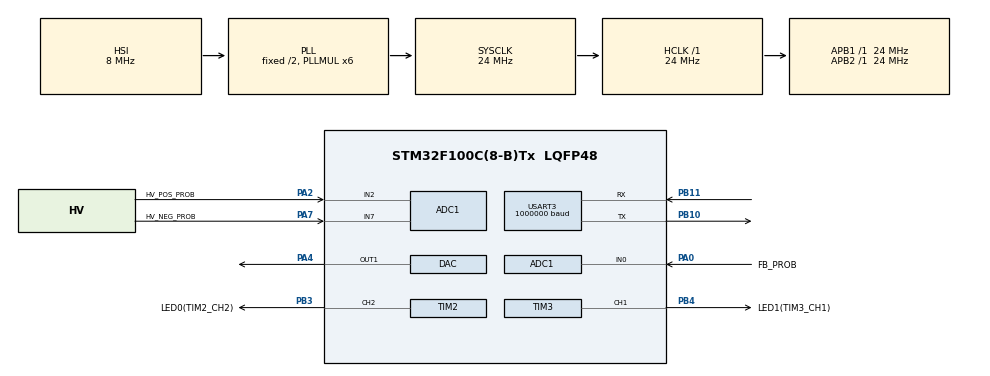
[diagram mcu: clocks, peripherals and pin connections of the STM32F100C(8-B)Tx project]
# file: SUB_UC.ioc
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ADC1.Channel-4\#ChannelRegularConversion=ADC_CHANNEL_0
ADC1.Channel-5\#ChannelRegularConversion=ADC_CHANNEL_0
ADC1.Channel-6\#ChannelRegularConversion=ADC_CHANNEL_0
ADC1.Channel-7\#ChannelRegularConversion=ADC_CHANNEL_2
ADC1.Channel-8\#ChannelRegularConversion=ADC_CHANNEL_7
ADC1.InjNumberOfConversion=0
ADC1.NbrOfConversion=5
ADC1.NbrOfConversionFlag=1
ADC1.Rank-4\#ChannelRegularConversion=1
ADC1.Rank-5\#ChannelRegularConversion=2
ADC1.Rank-6\#ChannelRegularConversion=3
ADC1.Rank-7\#ChannelRegularConversion=4
ADC1.Rank-8\#ChannelRegularConversion=5
ADC1.SamplingTime-4\#ChannelRegularConversion=ADC_SAMPLETIME_28CYCLES_5
ADC1.SamplingTime-5\#ChannelRegularConversion=ADC_SAMPLETIME_28CYCLES_5
ADC1.SamplingTime-6\#ChannelRegularConversion=ADC_SAMPLETIME_28CYCLES_5
ADC1.SamplingTime-7\#ChannelRegularConversion=ADC_SAMPLETIME_55CYCLES_5
ADC1.SamplingTime-8\#ChannelRegularConversion=ADC_SAMPLETIME_55CYCLES_5
ADC1.master=1
Dma.ADC1.0.Direction=DMA_PERIPH_TO_MEMORY
Dma.ADC1.0.Instance=DMA1_Channel1
Dma.ADC1.0.MemDataAlignment=DMA_MDATAALIGN_HALFWORD
Dma.ADC1.0.MemInc=DMA_MINC_ENABLE
Dma.ADC1.0.Mode=DMA_CIRCULAR
Dma.ADC1.0.PeriphDataAlignment=DMA_PDATAALIGN_HALFWORD
Dma.ADC1.0.PeriphInc=DMA_PINC_DISABLE
Dma.ADC1.0.Priority=DMA_PRIORITY_LOW
Dma.Request0=ADC1
Dma.Request1=USART3_TX
Dma.Request2=USART3_RX
Dma.USART3_RX.2.Direction=DMA_PERIPH_TO_MEMORY
Dma.USART3_RX.2.Instance=DMA1_Channel3
Dma.USART3_RX.2.MemDataAlignment=DMA_MDATAALIGN_BYTE
Dma.USART3_RX.2.MemInc=DMA_MINC_ENABLE
Dma.USART3_RX.2.Mode=DMA_CIRCULAR
Dma.USART3_RX.2.PeriphDataAlignment=DMA_PDATAALIGN_BYTE
Dma.USART3_RX.2.PeriphInc=DMA_PINC_DISABLE
Dma.USART3_RX.2.Priority=DMA_PRIORITY_LOW
Dma.USART3_TX.1.Direction=DMA_MEMORY_TO_PERIPH
Dma.USART3_TX.1.Instance=DMA1_Channel2
Dma.USART3_TX.1.MemDataAlignment=DMA_MDATAALIGN_BYTE
Dma.USART3_TX.1.MemInc=DMA_MINC_ENABLE
Dma.USART3_TX.1.Mode=DMA_NORMAL
Dma.USART3_TX.1.PeriphDataAlignment=DMA_PDATAALIGN_BYTE
Dma.USART3_TX.1.PeriphInc=DMA_PINC_DISABLE
Dma.USART3_TX.1.Priority=DMA_PRIORITY_LOW
Mcu.Family=STM32F1
Mcu.Name=STM32F100C(8-B)Tx
Mcu.Package=LQFP48
NVIC.DMA1_Channel1_IRQn=true\:0\:0\:false\:false\:true
NVIC.DMA1_Channel2_IRQn=true\:0\:0\:false\:false\:true
NVIC.DMA1_Channel3_IRQn=true\:0\:0\:false\:false\:true
NVIC.PriorityGroup=NVIC_PRIORITYGROUP_4
NVIC.TIM6_DAC_IRQn=true\:0\:0\:false\:false\:true
NVIC.TIM7_IRQn=true\:0\:0\:false\:false\:true
NVIC.USART3_IRQn=true\:0\:0\:false\:false\:true
PA0-WKUP.GPIO_Label=FB_PROB
PA0-WKUP.Signal=ADCx_IN0
PA13.Mode=Serial_Wire
PA13.Signal=SYS_JTMS-SWDIO
PA14.Mode=Serial_Wire
PA14.Signal=SYS_JTCK-SWCLK
PA2.GPIO_Label=HV_POS_PROB
PA2.Signal=ADCx_IN2
PA4.Signal=COMP_DAC1_group
PA7.GPIO_Label=HV_NEG_PROB
PA7.Signal=ADCx_IN7
PB10.Mode=Asynchronous
PB10.Signal=USART3_TX
PB11.Mode=Asynchronous
PB11.Signal=USART3_RX
PB3.GPIO_Label=LED0(TIM2_CH2)
PB3.Signal=S_TIM2_CH2
PB4.GPIO_Label=LED1(TIM3_CH1)
PB4.Signal=S_TIM3_CH1
PD0-OSC_IN.Mode=HSE-External-Oscillator
PD0-OSC_IN.Signal=RCC_OSC_IN
PD1-OSC_OUT.Mode=HSE-External-Oscillator
PD1-OSC_OUT.Signal=RCC_OSC_OUT
ProjectManager.HeapSize=0x200
ProjectManager.StackSize=0x400
ProjectManager.TargetToolchain=MDK-ARM V5
RCC.AHBFreq_Value=24000000
RCC.APB1Freq_Value=24000000
RCC.APB1TimFreq_Value=24000000
RCC.APB2Freq_Value=24000000
RCC.APB2TimFreq_Value=24000000
RCC.HCLKFreq_Value=24000000
RCC.PLLMUL=RCC_PLL_MUL6
RCC.SYSCLKFreq_VALUE=24000000
RCC.SYSCLKSource=RCC_SYSCLKSOURCE_PLLCLK
SH.ADCx_IN0.0=ADC1_IN0,IN0
SH.ADCx_IN2.0=ADC1_IN2,IN2
SH.ADCx_IN7.0=ADC1_IN7,IN7
SH.COMP_DAC1_group.0=DAC_OUT1,DAC_OUT1
SH.S_TIM2_CH2.0=TIM2_CH2,PWM Generation2 CH2
SH.S_TIM3_CH1.0=TIM3_CH1,PWM Generation1 CH1
TIM2.Channel-PWM\ Generation2\ CH2=TIM_CHANNEL_2
TIM2.OCFastMode_PWM-PWM\ Generation2\ CH2=TIM_OCFAST_ENABLE
TIM2.Period=500
TIM2.Prescaler=24000
TIM2.Pulse-PWM\ Generation2\ CH2=50
TIM3.OCFastMode_PWM-PWM\ Generation1\ CH1=TIM_OCFAST_ENABLE
TIM3.Period=600
TIM3.Prescaler=24000
TIM3.Pulse-PWM\ Generation1\ CH1=50
TIM6.Period=100
TIM6.Prescaler=23
TIM7.Period=10
TIM7.Prescaler=239
USART3.BaudRate=1000000
VP_TIM6_VS_ClockSourceINT.Mode=Enable_Timer
VP_TIM7_VS_ClockSourceINT.Mode=Enable_Timer
board=SUB_UC

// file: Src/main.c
/**
  ******************************************************************************
  * File Name          : main.c
  * Description        : Main program body
  ******************************************************************************
  *
  * COPYRIGHT(c) 2017 STMicroelectronics
  *
  * Redistribution and use in source and binary forms, with or without modification,
  * are permitted provided that the following conditions are met:
  *   1. Redistributions of source code must retain the above copyright notice,
  *      this list of conditions and the following disclaimer.
  *   2. Redistributions in binary form must reproduce the above copyright notice,
  *      this list of conditions and the following disclaimer in the documentation
  *      and/or other materials provided with the distribution.
  *   3. Neither the name of STMicroelectronics nor the names of its contributors
  *      may be used to endorse or promote products derived from this software
  *      without specific prior written permission.
  *
  * THIS SOFTWARE IS PROVIDED BY THE COPYRIGHT HOLDERS AND CONTRIBUTORS "AS IS"
  * AND ANY EXPRESS OR IMPLIED WARRANTIES, INCLUDING, BUT NOT LIMITED TO, THE
  * IMPLIED WARRANTIES OF MERCHANTABILITY AND FITNESS FOR A PARTICULAR PURPOSE ARE
  * DISCLAIMED. IN NO EVENT SHALL THE COPYRIGHT HOLDER OR CONTRIBUTORS BE LIABLE
  * FOR ANY DIRECT, INDIRECT, INCIDENTAL, SPECIAL, EXEMPLARY, OR CONSEQUENTIAL
  * DAMAGES (INCLUDING, BUT NOT LIMITED TO, PROCUREMENT OF SUBSTITUTE GOODS OR
  * SERVICES; LOSS OF USE, DATA, OR PROFITS; OR BUSINESS INTERRUPTION) HOWEVER
  * CAUSED AND ON ANY THEORY OF LIABILITY, WHETHER IN CONTRACT, STRICT LIABILITY,
  * OR TORT (INCLUDING NEGLIGENCE OR OTHERWISE) ARISING IN ANY WAY OUT OF THE USE
  * OF THIS SOFTWARE, EVEN IF ADVISED OF THE POSSIBILITY OF SUCH DAMAGE.
  *
  ******************************************************************************
  */
#include "main.h"
#include "stm32f1xx_hal.h"

/* USER CODE BEGIN Includes */
#include "MISC_function.h"
#include "Channel_function.h"
#include "USART_function.h"
/* USER CODE END Includes */

ADC_HandleTypeDef hadc1;
DMA_HandleTypeDef hdma_adc1;

DAC_HandleTypeDef hdac;

TIM_HandleTypeDef htim2;
TIM_HandleTypeDef htim3;
TIM_HandleTypeDef htim6;
TIM_HandleTypeDef htim7;

UART_HandleTypeDef huart3;
DMA_HandleTypeDef hdma_usart3_tx;
DMA_HandleTypeDef hdma_usart3_rx;

/* USER CODE BEGIN PV */
/* Private variables ---------------------------------------------------------*/
volatile 	uint32_t		MainStatus 			= 0x00000000;

uint16_t 				ADC_Values[5]					= {0x0000,0x0000,0x0000,0x0000,0x0000};
volatile float 	HV_PosRailVoltage 		= 0.0;
volatile float 	HV_NegRailVoltage 		= 0.0;

const float         FilterConst						= 0.1;
const float			HV_PosRailVoltageGain = 0.0705; //En théorie devrait valoir 100*3.3/4096 = 0.08057 (avec 100 le rapport du diviseur de tension)
const float			HV_NegRailVoltageGain = 0.0705; //En théorie devrait valoir 100*3.3/4096 = 0.08057 (avec 100 le rapport du diviseur de tension)

uint32_t 				DebugVar0							= 0;
uint32_t 				DebugVar1							= 0;

/* USER CODE END PV */

void SystemClock_Config(void);
void Error_Handler(void);
static void MX_GPIO_Init(void);
static void MX_DMA_Init(void);
static void MX_ADC1_Init(void);
static void MX_DAC_Init(void);
static void MX_USART3_UART_Init(void);
static void MX_TIM7_Init(void);
static void MX_TIM6_Init(void);
static void MX_TIM2_Init(void);
static void MX_TIM3_Init(void);

void HAL_TIM_MspPostInit(TIM_HandleTypeDef *htim);

/* USER CODE BEGIN PFP */
/* Private function prototypes -----------------------------------------------*/
void HAL_TIM_PeriodElapsedCallback(TIM_HandleTypeDef *htim);
void MiscInit(void);
void CyclicSupervisionTask(void);
void LedConfig(uint32_t Periode, uint32_t Pulse, uint32_t Color);
/* USER CODE END PFP */

int main(void)
{

  /* MCU Configuration----------------------------------------------------------*/

  /* Reset of all peripherals, Initializes the Flash interface and the Systick. */
  HAL_Init();

  /* Configure the system clock */
  SystemClock_Config();

  /* Initialize all configured peripherals */
  MX_GPIO_Init();
  MX_DMA_Init();
  MX_ADC1_Init();
  MX_DAC_Init();
  MX_USART3_UART_Init();
  MX_TIM7_Init();
  MX_TIM6_Init();
  MX_TIM2_Init();
  MX_TIM3_Init();

  /* USER CODE BEGIN 2 */
	MiscInit();
	//LED1_GPIO_Port->ODR	^= LED1_Pin;
  /* USER CODE END 2 */

  /* Infinite loop */
  while (1)
  {

  /* USER CODE BEGIN 3 */
		USART_rx_handler();
		if(MainStatus & RUN_CYCLIC_SUPERVISION_TASK){
				MainStatus &=~RUN_CYCLIC_SUPERVISION_TASK;
				CyclicSupervisionTask();
		}
		Delay_ms_dummy(100);
//		LED0_GPIO_Port->ODR	^= LED0_Pin;
//		Delay_ms_dummy(100);
//		LED1_GPIO_Port->ODR	^= LED1_Pin;
  }
  /* USER CODE END 3 */

}

/** System Clock Configuration
*/
void SystemClock_Config(void)
{

  RCC_OscInitTypeDef RCC_OscInitStruct;
  RCC_ClkInitTypeDef RCC_ClkInitStruct;
  RCC_PeriphCLKInitTypeDef PeriphClkInit;

    /**Initializes the CPU, AHB and APB busses clocks
    */
  RCC_OscInitStruct.OscillatorType = RCC_OSCILLATORTYPE_HSI;
  RCC_OscInitStruct.HSIState = RCC_HSI_ON;
  RCC_OscInitStruct.HSICalibrationValue = 16;
  RCC_OscInitStruct.PLL.PLLState = RCC_PLL_ON;
  RCC_OscInitStruct.PLL.PLLSource = RCC_PLLSOURCE_HSI_DIV2;
  RCC_OscInitStruct.PLL.PLLMUL = RCC_PLL_MUL6;
  if (HAL_RCC_OscConfig(&RCC_OscInitStruct) != HAL_OK)
  {
    Error_Handler();
  }

    /**Initializes the CPU, AHB and APB busses clocks
    */
  RCC_ClkInitStruct.ClockType = RCC_CLOCKTYPE_HCLK|RCC_CLOCKTYPE_SYSCLK
                              |RCC_CLOCKTYPE_PCLK1|RCC_CLOCKTYPE_PCLK2;
  RCC_ClkInitStruct.SYSCLKSource = RCC_SYSCLKSOURCE_PLLCLK;
  RCC_ClkInitStruct.AHBCLKDivider = RCC_SYSCLK_DIV1;
  RCC_ClkInitStruct.APB1CLKDivider = RCC_HCLK_DIV1;
  RCC_ClkInitStruct.APB2CLKDivider = RCC_HCLK_DIV1;

  if (HAL_RCC_ClockConfig(&RCC_ClkInitStruct, FLASH_LATENCY_0) != HAL_OK)
  {
    Error_Handler();
  }

  PeriphClkInit.PeriphClockSelection = RCC_PERIPHCLK_ADC;
  PeriphClkInit.AdcClockSelection = RCC_ADCPCLK2_DIV2;
  if (HAL_RCCEx_PeriphCLKConfig(&PeriphClkInit) != HAL_OK)
  {
    Error_Handler();
  }

    /**Configure the Systick interrupt time
    */
  HAL_SYSTICK_Config(HAL_RCC_GetHCLKFreq()/1000);

    /**Configure the Systick
    */
  HAL_SYSTICK_CLKSourceConfig(SYSTICK_CLKSOURCE_HCLK);

  /* SysTick_IRQn interrupt configuration */
  HAL_NVIC_SetPriority(SysTick_IRQn, 0, 0);
}

/* ADC1 init function */
static void MX_ADC1_Init(void)
{

  ADC_ChannelConfTypeDef sConfig;

    /**Common config
    */
  hadc1.Instance = ADC1;
  hadc1.Init.ScanConvMode = ADC_SCAN_ENABLE;
  hadc1.Init.ContinuousConvMode = DISABLE;
  hadc1.Init.DiscontinuousConvMode = DISABLE;
  hadc1.Init.ExternalTrigConv = ADC_SOFTWARE_START;
  hadc1.Init.DataAlign = ADC_DATAALIGN_RIGHT;
  hadc1.Init.NbrOfConversion = 5;
  if (HAL_ADC_Init(&hadc1) != HAL_OK)
  {
    Error_Handler();
  }

    /**Configure Regular Channel
    */
  sConfig.Channel = ADC_CHANNEL_0;
  sConfig.Rank = 1;
  sConfig.SamplingTime = ADC_SAMPLETIME_28CYCLES_5;
  if (HAL_ADC_ConfigChannel(&hadc1, &sConfig) != HAL_OK)
  {
    Error_Handler();
  }

    /**Configure Regular Channel
    */
  sConfig.Rank = 2;
  if (HAL_ADC_ConfigChannel(&hadc1, &sConfig) != HAL_OK)
  {
    Error_Handler();
  }

    /**Configure Regular Channel
    */
  sConfig.Rank = 3;
  if (HAL_ADC_ConfigChannel(&hadc1, &sConfig) != HAL_OK)
  {
    Error_Handler();
  }

    /**Configure Regular Channel
    */
  sConfig.Channel = ADC_CHANNEL_2;
  sConfig.Rank = 4;
  sConfig.SamplingTime = ADC_SAMPLETIME_55CYCLES_5;
  if (HAL_ADC_ConfigChannel(&hadc1, &sConfig) != HAL_OK)
  {
    Error_Handler();
  }

    /**Configure Regular Channel
    */
  sConfig.Channel = ADC_CHANNEL_7;
  sConfig.Rank = 5;
  if (HAL_ADC_ConfigChannel(&hadc1, &sConfig) != HAL_OK)
  {
    Error_Handler();
  }

}

/* DAC init function */
static void MX_DAC_Init(void)
{

  DAC_ChannelConfTypeDef sConfig;

    /**DAC Initialization
    */
  hdac.Instance = DAC;
  if (HAL_DAC_Init(&hdac) != HAL_OK)
  {
    Error_Handler();
  }

    /**DAC channel OUT1 config
    */
  sConfig.DAC_Trigger = DAC_TRIGGER_NONE;
  sConfig.DAC_OutputBuffer = DAC_OUTPUTBUFFER_ENABLE;
  if (HAL_DAC_ConfigChannel(&hdac, &sConfig, DAC_CHANNEL_1) != HAL_OK)
  {
    Error_Handler();
  }

}

/* TIM2 init function */
static void MX_TIM2_Init(void)
{

  TIM_MasterConfigTypeDef sMasterConfig;
  TIM_OC_InitTypeDef sConfigOC;

  htim2.Instance = TIM2;
  htim2.Init.Prescaler = 24000;
  htim2.Init.CounterMode = TIM_COUNTERMODE_UP;
  htim2.Init.Period = 500;
  htim2.Init.ClockDivision = TIM_CLOCKDIVISION_DIV1;
  if (HAL_TIM_PWM_Init(&htim2) != HAL_OK)
  {
    Error_Handler();
  }

  sMasterConfig.MasterOutputTrigger = TIM_TRGO_RESET;
  sMasterConfig.MasterSlaveMode = TIM_MASTERSLAVEMODE_DISABLE;
  if (HAL_TIMEx_MasterConfigSynchronization(&htim2, &sMasterConfig) != HAL_OK)
  {
    Error_Handler();
  }

  sConfigOC.OCMode = TIM_OCMODE_PWM1;
  sConfigOC.Pulse = 0;
  sConfigOC.OCPolarity = TIM_OCPOLARITY_HIGH;
  sConfigOC.OCFastMode = TIM_OCFAST_ENABLE;
  if (HAL_TIM_PWM_ConfigChannel(&htim2, &sConfigOC, TIM_CHANNEL_2) != HAL_OK)
  {
    Error_Handler();
  }

  HAL_TIM_MspPostInit(&htim2);

}

/* TIM3 init function */
static void MX_TIM3_Init(void)
{

  TIM_MasterConfigTypeDef sMasterConfig;
  TIM_OC_InitTypeDef sConfigOC;

  htim3.Instance = TIM3;
  htim3.Init.Prescaler = 24000;
  htim3.Init.CounterMode = TIM_COUNTERMODE_UP;
  htim3.Init.Period = 500;
  htim3.Init.ClockDivision = TIM_CLOCKDIVISION_DIV1;
  if (HAL_TIM_PWM_Init(&htim3) != HAL_OK)
  {
    Error_Handler();
  }

  sMasterConfig.MasterOutputTrigger = TIM_TRGO_RESET;
  sMasterConfig.MasterSlaveMode = TIM_MASTERSLAVEMODE_DISABLE;
  if (HAL_TIMEx_MasterConfigSynchronization(&htim3, &sMasterConfig) != HAL_OK)
  {
    Error_Handler();
  }

  sConfigOC.OCMode = TIM_OCMODE_PWM1;
  sConfigOC.Pulse = 50;
  sConfigOC.OCPolarity = TIM_OCPOLARITY_HIGH;
  sConfigOC.OCFastMode = TIM_OCFAST_ENABLE;
  if (HAL_TIM_PWM_ConfigChannel(&htim3, &sConfigOC, TIM_CHANNEL_1) != HAL_OK)
  {
    Error_Handler();
  }

  HAL_TIM_MspPostInit(&htim3);

}

/* TIM6 init function */
static void MX_TIM6_Init(void)
{

  TIM_MasterConfigTypeDef sMasterConfig;

  htim6.Instance = TIM6;
  htim6.Init.Prescaler = 23;
  htim6.Init.CounterMode = TIM_COUNTERMODE_UP;
  htim6.Init.Period = 100;
  if (HAL_TIM_Base_Init(&htim6) != HAL_OK)
  {
    Error_Handler();
  }

  sMasterConfig.MasterOutputTrigger = TIM_TRGO_RESET;
  sMasterConfig.MasterSlaveMode = TIM_MASTERSLAVEMODE_DISABLE;
  if (HAL_TIMEx_MasterConfigSynchronization(&htim6, &sMasterConfig) != HAL_OK)
  {
    Error_Handler();
  }

}

/* TIM7 init function */
static void MX_TIM7_Init(void)
{

  TIM_MasterConfigTypeDef sMasterConfig;

  htim7.Instance = TIM7;
  htim7.Init.Prescaler = 23;
  htim7.Init.CounterMode = TIM_COUNTERMODE_UP;
  htim7.Init.Period = 1000;
  if (HAL_TIM_Base_Init(&htim7) != HAL_OK)
  {
    Error_Handler();
  }

  sMasterConfig.MasterOutputTrigger = TIM_TRGO_RESET;
  sMasterConfig.MasterSlaveMode = TIM_MASTERSLAVEMODE_DISABLE;
  if (HAL_TIMEx_MasterConfigSynchronization(&htim7, &sMasterConfig) != HAL_OK)
  {
    Error_Handler();
  }

}

/* USART3 init function */
static void MX_USART3_UART_Init(void)
{

  huart3.Instance = USART3;
  huart3.Init.BaudRate = 1000000;
  huart3.Init.WordLength = UART_WORDLENGTH_8B;
  huart3.Init.StopBits = UART_STOPBITS_1;
  huart3.Init.Parity = UART_PARITY_NONE;
  huart3.Init.Mode = UART_MODE_TX_RX;
  huart3.Init.HwFlowCtl = UART_HWCONTROL_NONE;
  huart3.Init.OverSampling = UART_OVERSAMPLING_16;
  if (HAL_UART_Init(&huart3) != HAL_OK)
  {
    Error_Handler();
  }

}

static void MX_DMA_Init(void)
{
  /* DMA controller clock enable */
  __HAL_RCC_DMA1_CLK_ENABLE();

  /* DMA interrupt init */
  /* DMA1_Channel1_IRQn interrupt configuration */
  HAL_NVIC_SetPriority(DMA1_Channel1_IRQn, 0, 0);
  HAL_NVIC_EnableIRQ(DMA1_Channel1_IRQn);
  /* DMA1_Channel2_IRQn interrupt configuration */
  HAL_NVIC_SetPriority(DMA1_Channel2_IRQn, 0, 0);
  HAL_NVIC_EnableIRQ(DMA1_Channel2_IRQn);
  /* DMA1_Channel3_IRQn interrupt configuration */
  HAL_NVIC_SetPriority(DMA1_Channel3_IRQn, 0, 0);
  HAL_NVIC_EnableIRQ(DMA1_Channel3_IRQn);

}

/** Configure pins as
        * Analog
        * Input
        * Output
        * EVENT_OUT
        * EXTI
*/
static void MX_GPIO_Init(void)
{

  /* GPIO Ports Clock Enable */
  __HAL_RCC_GPIOD_CLK_ENABLE();
  __HAL_RCC_GPIOA_CLK_ENABLE();
  __HAL_RCC_GPIOB_CLK_ENABLE();

}

/* USER CODE BEGIN 4 */

/**
  * @brief  Divers choses à effectuer après un rst (pas mis dans le main pour éviter les conflic avec stmcubemx)
  * @param  None
  * @retval None
  */
void MiscInit(void){
	//Active les interruptions sur l'uart 3
		USART_rx_init(&huart3);
		HAL_TIM_PWM_Start(&htim2, TIM_CHANNEL_2);	//Start LED PWM Timer
		HAL_TIM_PWM_Start(&htim3, TIM_CHANNEL_1);	//Start LED PWM Timer
	//Active le DAC et met sa sortie à 50%
		HAL_DAC_Start(&hdac, DAC_CHANNEL_1);
		HAL_DAC_SetValue(&hdac, DAC_CHANNEL_1, DAC_ALIGN_12B_R, (1<<11));
	//Calibre l'ADC et lance la première conversion
		Delay_ms_dummy(100);
		HAL_ADCEx_Calibration_Start(&hadc1);
		Delay_ms_dummy(100);
		HAL_ADC_Start_DMA(&hadc1, (uint32_t*) ADC_Values, 5);
		HAL_TIM_Base_Start_IT(&htim6);
		HAL_TIM_Base_Start_IT(&htim7);
		__HAL_TIM_DISABLE(&htim7);
}
//END MiscInit

/**
  * @brief  Fonction d'interruption pour les deux timers principaux (TIM6 & TIM7) servant à cadancer les trains d'impulsions
  * @param  None
  * @retval None
  */
void HAL_TIM_PeriodElapsedCallback(TIM_HandleTypeDef *htim){
	__HAL_TIM_DISABLE(htim);
	Channel_UpdateOutput();
}
//END HAL_TIM_PeriodElapsedCallback

/**
  * @brief  Boucle de supervision appelée au maximum 1 fois en chaque train d'impulsion
  * 					- Pour le moment ne fait pas grand chose à par vérifier la tension d'alim.
  * @param  None
  * @retval None
  */
void CyclicSupervisionTask(void){
//Mesure (et filtre) les tension d'alimentations
	HV_PosRailVoltage 	= (1.0f-FilterConst)*HV_PosRailVoltage + FilterConst*((float)(HV_PosRailVoltageGain*ADC_Values[3]));
	HV_NegRailVoltage 	= (1.0f-FilterConst)*HV_NegRailVoltage + FilterConst*((float)(HV_NegRailVoltageGain*(ADC_Values[4]-4095)));
	HAL_ADC_Start_DMA(&hadc1, (uint32_t*) ADC_Values, 5);

	if((HV_PosRailVoltage-HV_NegRailVoltage)>50){
		LedConfig(200,50,0);
	}else{
		LedConfig(500,50,1);
	}

	if(MainStatus & REQUEST_STATUS){
//		LED0_GPIO_Port->ODR ^= LED0_Pin;
//		USART_reset_Buffer();
//		USART_add_float_To_TxBuffer(HV_PosRailVoltage);
//		USART_add_float_To_TxBuffer(HV_NegRailVoltage);
//		USART_send_buffer(&huart3);
//		MainStatus &=~REQUEST_STATUS;
	}
}
//END CyclicTask

/**
  * @brief  Configure le clignotement des les
  * @param  Periode ~ms, Pulse ~ms (doit être plus petit que la periode), Color (0=red, 1=green)
  * @retval None
  */
void LedConfig(uint32_t Periode, uint32_t Pulse, uint32_t Color){
	if(Color){	//Green
		TIM3->CCR1  	= 0;
		if(TIM2->ARR != Periode){
			TIM2->CNT 	= 0;
			TIM2->ARR 	= Periode;
		}
		TIM2->CCR2  	= Pulse;
	}else{ //Red
		TIM2->CCR2  	= 0;
		if(TIM3->ARR != Periode){
			TIM3->CNT 	= 0;
			TIM3->ARR 	= Periode;
		}
		TIM3->CCR1  	= Pulse;
	}
}
//END CyclicTask

/* USER CODE END 4 */

void Error_Handler(void)
{
  while(1)
  {
  }
}

/************************ (C) COPYRIGHT STMicroelectronics *****END OF FILE****/
